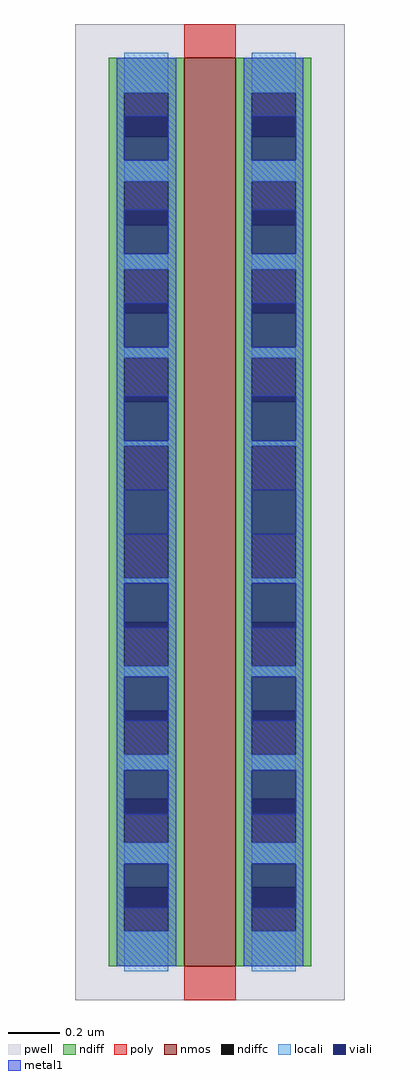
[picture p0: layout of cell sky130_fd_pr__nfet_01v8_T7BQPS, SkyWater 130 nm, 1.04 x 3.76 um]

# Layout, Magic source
magic
tech sky130A
magscale 1 2
<< pwell >>
rect -104 -376 104 376
<< nmos >>
rect -20 -350 20 350
<< ndiff >>
rect -78 323 -20 350
rect -78 289 -66 323
rect -32 289 -20 323
rect -78 255 -20 289
rect -78 221 -66 255
rect -32 221 -20 255
rect -78 187 -20 221
rect -78 153 -66 187
rect -32 153 -20 187
rect -78 119 -20 153
rect -78 85 -66 119
rect -32 85 -20 119
rect -78 51 -20 85
rect -78 17 -66 51
rect -32 17 -20 51
rect -78 -17 -20 17
rect -78 -51 -66 -17
rect -32 -51 -20 -17
rect -78 -85 -20 -51
rect -78 -119 -66 -85
rect -32 -119 -20 -85
rect -78 -153 -20 -119
rect -78 -187 -66 -153
rect -32 -187 -20 -153
rect -78 -221 -20 -187
rect -78 -255 -66 -221
rect -32 -255 -20 -221
rect -78 -289 -20 -255
rect -78 -323 -66 -289
rect -32 -323 -20 -289
rect -78 -350 -20 -323
rect 20 323 78 350
rect 20 289 32 323
rect 66 289 78 323
rect 20 255 78 289
rect 20 221 32 255
rect 66 221 78 255
rect 20 187 78 221
rect 20 153 32 187
rect 66 153 78 187
rect 20 119 78 153
rect 20 85 32 119
rect 66 85 78 119
rect 20 51 78 85
rect 20 17 32 51
rect 66 17 78 51
rect 20 -17 78 17
rect 20 -51 32 -17
rect 66 -51 78 -17
rect 20 -85 78 -51
rect 20 -119 32 -85
rect 66 -119 78 -85
rect 20 -153 78 -119
rect 20 -187 32 -153
rect 66 -187 78 -153
rect 20 -221 78 -187
rect 20 -255 32 -221
rect 66 -255 78 -221
rect 20 -289 78 -255
rect 20 -323 32 -289
rect 66 -323 78 -289
rect 20 -350 78 -323
<< ndiffc >>
rect -66 289 -32 323
rect -66 221 -32 255
rect -66 153 -32 187
rect -66 85 -32 119
rect -66 17 -32 51
rect -66 -51 -32 -17
rect -66 -119 -32 -85
rect -66 -187 -32 -153
rect -66 -255 -32 -221
rect -66 -323 -32 -289
rect 32 289 66 323
rect 32 221 66 255
rect 32 153 66 187
rect 32 85 66 119
rect 32 17 66 51
rect 32 -51 66 -17
rect 32 -119 66 -85
rect 32 -187 66 -153
rect 32 -255 66 -221
rect 32 -323 66 -289
<< poly >>
rect -20 350 20 376
rect -20 -376 20 -350
<< locali >>
rect -66 323 -32 354
rect -66 255 -32 271
rect -66 187 -32 199
rect -66 119 -32 127
rect -66 51 -32 55
rect -66 -55 -32 -51
rect -66 -127 -32 -119
rect -66 -199 -32 -187
rect -66 -271 -32 -255
rect -66 -354 -32 -323
rect 32 323 66 354
rect 32 255 66 271
rect 32 187 66 199
rect 32 119 66 127
rect 32 51 66 55
rect 32 -55 66 -51
rect 32 -127 66 -119
rect 32 -199 66 -187
rect 32 -271 66 -255
rect 32 -354 66 -323
<< viali >>
rect -66 289 -32 305
rect -66 271 -32 289
rect -66 221 -32 233
rect -66 199 -32 221
rect -66 153 -32 161
rect -66 127 -32 153
rect -66 85 -32 89
rect -66 55 -32 85
rect -66 -17 -32 17
rect -66 -85 -32 -55
rect -66 -89 -32 -85
rect -66 -153 -32 -127
rect -66 -161 -32 -153
rect -66 -221 -32 -199
rect -66 -233 -32 -221
rect -66 -289 -32 -271
rect -66 -305 -32 -289
rect 32 289 66 305
rect 32 271 66 289
rect 32 221 66 233
rect 32 199 66 221
rect 32 153 66 161
rect 32 127 66 153
rect 32 85 66 89
rect 32 55 66 85
rect 32 -17 66 17
rect 32 -85 66 -55
rect 32 -89 66 -85
rect 32 -153 66 -127
rect 32 -161 66 -153
rect 32 -221 66 -199
rect 32 -233 66 -221
rect 32 -289 66 -271
rect 32 -305 66 -289
<< metal1 >>
rect -72 305 -26 350
rect -72 271 -66 305
rect -32 271 -26 305
rect -72 233 -26 271
rect -72 199 -66 233
rect -32 199 -26 233
rect -72 161 -26 199
rect -72 127 -66 161
rect -32 127 -26 161
rect -72 89 -26 127
rect -72 55 -66 89
rect -32 55 -26 89
rect -72 17 -26 55
rect -72 -17 -66 17
rect -32 -17 -26 17
rect -72 -55 -26 -17
rect -72 -89 -66 -55
rect -32 -89 -26 -55
rect -72 -127 -26 -89
rect -72 -161 -66 -127
rect -32 -161 -26 -127
rect -72 -199 -26 -161
rect -72 -233 -66 -199
rect -32 -233 -26 -199
rect -72 -271 -26 -233
rect -72 -305 -66 -271
rect -32 -305 -26 -271
rect -72 -350 -26 -305
rect 26 305 72 350
rect 26 271 32 305
rect 66 271 72 305
rect 26 233 72 271
rect 26 199 32 233
rect 66 199 72 233
rect 26 161 72 199
rect 26 127 32 161
rect 66 127 72 161
rect 26 89 72 127
rect 26 55 32 89
rect 66 55 72 89
rect 26 17 72 55
rect 26 -17 32 17
rect 66 -17 72 17
rect 26 -55 72 -17
rect 26 -89 32 -55
rect 66 -89 72 -55
rect 26 -127 72 -89
rect 26 -161 32 -127
rect 66 -161 72 -127
rect 26 -199 72 -161
rect 26 -233 32 -199
rect 66 -233 72 -199
rect 26 -271 72 -233
rect 26 -305 32 -271
rect 66 -305 72 -271
rect 26 -350 72 -305
<< end >>
